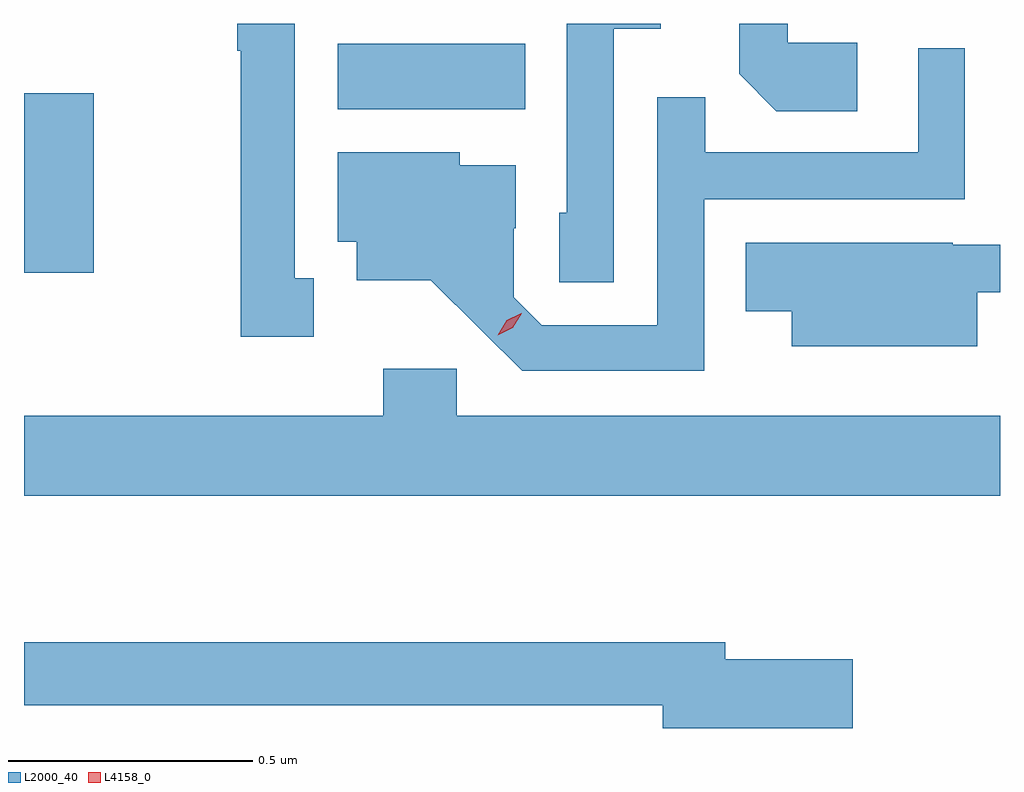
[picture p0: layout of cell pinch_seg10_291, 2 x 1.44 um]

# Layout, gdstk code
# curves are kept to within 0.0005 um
import gdstk
lib = gdstk.Library(unit=1e-6, precision=1e-09)
def R(c, l, rs):  # rectangles x0, y0, x1, y1
    for r in rs: c.add(gdstk.rectangle(r[:2], r[2:], *l))
def P(c, l, *ps):  # polygons
    for p in ps: c.add(gdstk.Polygon(p, *l))
L2000_40 = (2000, 40)
L4158_0 = (4158, 0)

pinch_seg10_291 = lib.new_cell('pinch_seg10_291')
R(pinch_seg10_291, L2000_40, [(503.029,1311.429,503.172,1311.796), (503.672,1311.764,504.056,1311.898)])
P(pinch_seg10_291, L2000_40, [(504.237,1311.929),(504.334,1311.929),(504.334,1311.939),(504.141,1311.939),(504.141,1311.552),(504.126,1311.552),(504.126,1311.409),(504.237,1311.409)],
  [(503.623,1311.417),(503.584,1311.417),(503.584,1311.939),(503.466,1311.939),(503.466,1311.883),(503.473,1311.883),(503.473,1311.297),(503.623,1311.297)],
  [(504.736,1311.9),(504.594,1311.9),(504.594,1311.939),(504.495,1311.939),(504.495,1311.836),(504.571,1311.76),(504.736,1311.76)],
  [(504.423,1311.579),(504.957,1311.579),(504.957,1311.889),(504.861,1311.889),(504.861,1311.675),(504.425,1311.675),(504.425,1311.788),(504.327,1311.788),(504.327,1311.321),(504.09,1311.321),(504.033,1311.378),(504.033,1311.52),(504.037,1311.52),(504.037,1311.649),(503.922,1311.649),(503.922,1311.676),(503.672,1311.676),(503.672,1311.492),(503.711,1311.492),(503.711,1311.413),(503.863,1311.413),(504.05,1311.228),(504.423,1311.228)],
  [(504.982,1311.389),(505.029,1311.389),(505.029,1311.486),(504.932,1311.486),(504.932,1311.49),(504.508,1311.49),(504.508,1311.35),(504.602,1311.35),(504.602,1311.278),(504.982,1311.278)],
  [(505.029,1311.136),(503.916,1311.136),(503.916,1311.232),(503.765,1311.232),(503.765,1311.136),(503.029,1311.136),(503.029,1310.972),(505.029,1310.972)],
  [(504.727,1310.637),(504.466,1310.637),(504.466,1310.671),(503.029,1310.671),(503.029,1310.542),(504.338,1310.542),(504.338,1310.495),(504.727,1310.495)])
P(pinch_seg10_291, L4158_0, [(504,1311.301),(504,1311.301),(504.018,1311.331),(504.048,1311.346),(504.049,1311.346),(504.049,1311.346),(504.031,1311.316),(504,1311.301)])

lib.write_gds('pinch_seg10_291.gds')
